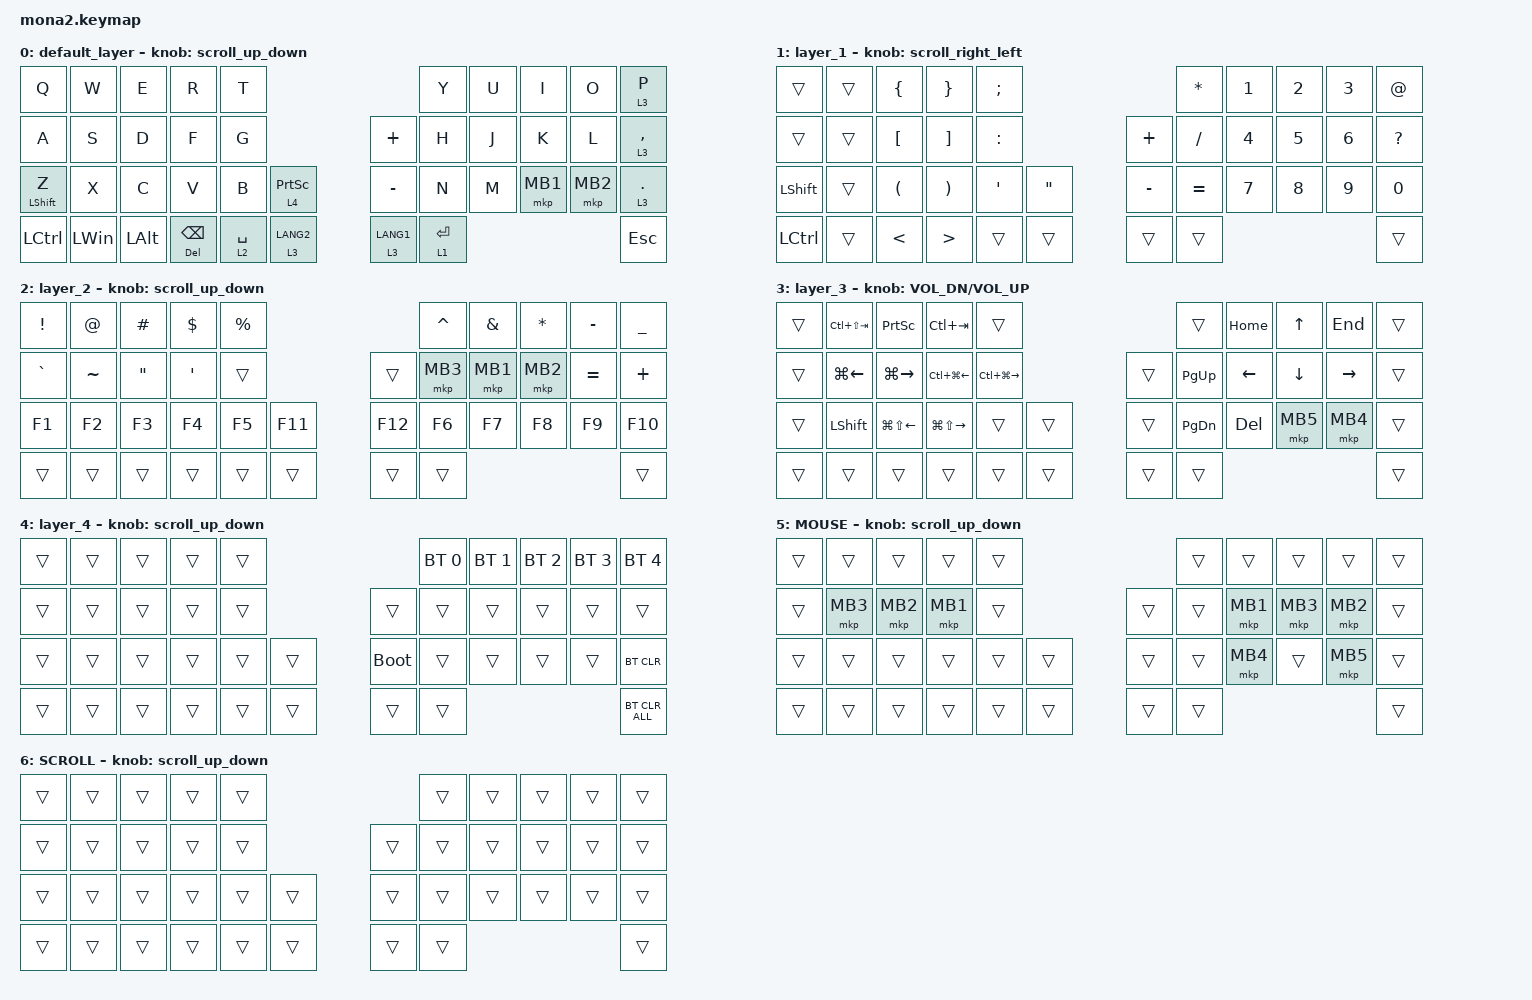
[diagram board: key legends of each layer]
#include <input/processors.dtsi>
#include <dt-bindings/zmk/input_transform.h>
#include <zephyr/dt-bindings/input/input-event-codes.h>
#include <behaviors.dtsi>
#include <dt-bindings/zmk/bt.h>
#include <dt-bindings/zmk/keys.h>
#include <dt-bindings/zmk/pointing.h>

#define ZMK_POINTING_DEFAULT_SCRL_VAL 100
#define MOUSE 5
#define SCROLL 6

&mt {
    flavor = "balanced";
    quick-tap-ms = <0>;
};

&lt {
    quick-tap-ms = <300>;
    flavor = "balanced";
};

/ {
    combos {
        compatible = "zmk,combos";

        layer4_ESC {
            bindings = <&lt 4 ESC>;
            key-positions = <39 38>;
        };

        tab {
            bindings = <&kp TAB>;
            key-positions = <11 12>;
        };
    };

    macros {
        to_layer_0: to_layer_0 {
            compatible = "zmk,behavior-macro-one-param";
            #binding-cells = <1>;
            bindings = <&to 0 &macro_param_1to1 &kp MACRO_PLACEHOLDER>;
            label = "TO_LAYER_0";
        };
    };

    behaviors {
        lt_to_layer_0: lt_to_layer_0 {
            compatible = "zmk,behavior-hold-tap";
            label = "LAYER_TAP_TO_0";
            bindings = <&mo>, <&to_layer_0>;

            #binding-cells = <2>;
            tapping-term-ms = <200>;
        };

        scroll_up_down: mouse_wheel_up_down {
            compatible = "zmk,behavior-sensor-rotate";
            #sensor-binding-cells = <0>;
            bindings = <&msc SCRL_DOWN>, <&msc SCRL_UP>;

            tap-ms = <20>;
        };

        scroll_right_left: mouse_wheel_right_left {
            compatible = "zmk,behavior-sensor-rotate";
            #sensor-binding-cells = <0>;
            bindings = <&msc SCRL_LEFT>, <&msc SCRL_RIGHT>;

            tap-ms = <20>;
        };
    };

    keymap {
        compatible = "zmk,keymap";

        default_layer {
            bindings = <
&kp Q             &kp W         &kp E         &kp R              &kp T                                                          &kp Y        &kp U  &kp I     &kp O     &lt 3 P
&kp A             &kp S         &kp D         &kp F              &kp G                                  &kp PLUS                &kp H        &kp J  &kp K     &kp L     &lt 3 COMMA
&mt LEFT_SHIFT Z  &kp X         &kp C         &kp V              &kp B        &lt 4 PRINTSCREEN         &kp MINUS               &kp N        &kp M  &mkp MB1  &mkp MB2  &lt 3 DOT
&kp LCTRL         &kp LEFT_WIN  &kp LEFT_ALT  &mt DEL BACKSPACE  &lt 2 SPACE  &lt_to_layer_0 3 LANG2    &lt_to_layer_0 3 LANG1  &lt 1 ENTER                             &kp ESCAPE
            >;

            sensor-bindings = <&scroll_up_down>;
        };

        layer_1 {
            bindings = <
&trans            &trans  &kp LEFT_BRACE    &kp RIGHT_BRACE        &kp SEMICOLON                                  &kp ASTERISK  &kp NUMBER_1  &kp NUMBER_2  &kp NUMBER_3  &kp AT_SIGN
&trans            &trans  &kp LEFT_BRACKET  &kp RIGHT_BRACKET      &kp COLON                           &kp PLUS   &kp SLASH     &kp NUMBER_4  &kp NUMBER_5  &kp NUMBER_6  &kp QUESTION
&kp LEFT_SHIFT    &trans  &kp LPAR          &kp RIGHT_PARENTHESIS  &kp SQT        &kp DOUBLE_QUOTES    &kp MINUS  &kp EQUAL     &kp NUMBER_7  &kp NUMBER_8  &kp NUMBER_9  &kp NUMBER_0
&kp LEFT_CONTROL  &trans  &kp LESS_THAN     &kp GREATER_THAN       &trans         &trans               &trans     &trans                                                  &trans
            >;

            sensor-bindings = <&scroll_right_left>;
        };

        layer_2 {
            bindings = <
&kp EXCLAMATION  &kp AT_SIGN  &kp POUND          &kp DOLLAR  &kp PERCENT                      &kp CARET  &kp AMPERSAND  &kp ASTERISK  &kp MINUS  &kp UNDERSCORE
&kp GRAVE        &kp TILDE    &kp DOUBLE_QUOTES  &kp SQT     &trans                  &trans   &mkp MB3   &mkp MB1       &mkp MB2      &kp EQUAL  &kp PLUS
&kp F1           &kp F2       &kp F3             &kp F4      &kp F5       &kp F11    &kp F12  &kp F6     &kp F7         &kp F8        &kp F9     &kp F10
&trans           &trans       &trans             &trans      &trans       &trans     &trans   &trans                                             &trans
            >;

            sensor-bindings = <&scroll_up_down>;
        };

        layer_3 {
            bindings = <
&trans  &kp LC(LS(TAB))     &kp PRINTSCREEN         &kp LC(TAB)              &trans                                     &trans         &kp HOME        &kp UP_ARROW    &kp END          &trans
&trans  &kp LG(LEFT_ARROW)  &kp LG(RIGHT_ARROW)     &kp LC(LG(LEFT_ARROW))   &kp LC(LG(RIGHT_ARROW))            &trans  &kp PAGE_UP    &kp LEFT_ARROW  &kp DOWN_ARROW  &kp RIGHT_ARROW  &trans
&trans  &kp LEFT_SHIFT      &kp LG(LS(LEFT_ARROW))  &kp LG(LS(RIGHT_ARROW))  &trans                   &trans    &trans  &kp PAGE_DOWN  &kp DELETE      &mkp MB5        &mkp MB4         &trans
&trans  &trans              &trans                  &trans                   &trans                   &trans    &trans  &trans                                                          &trans
            >;

            sensor-bindings = <&inc_dec_kp C_VOL_DN C_VOL_UP>;
        };

        layer_4 {
            bindings = <
&trans  &trans  &trans  &trans  &trans                         &bt BT_SEL 0  &bt BT_SEL 1  &bt BT_SEL 2  &bt BT_SEL 3  &bt BT_SEL 4
&trans  &trans  &trans  &trans  &trans            &trans       &trans        &trans        &trans        &trans        &trans
&trans  &trans  &trans  &trans  &trans  &trans    &bootloader  &trans        &trans        &trans        &trans        &bt BT_CLR
&trans  &trans  &trans  &trans  &trans  &trans    &trans       &trans                                                  &bt BT_CLR_ALL
            >;

            sensor-bindings = <&scroll_up_down>;
        };

        MOUSE {
            bindings = <
&trans  &trans    &trans    &trans    &trans                    &trans  &trans    &trans    &trans    &trans
&trans  &mkp MB3  &mkp MB2  &mkp MB1  &trans            &trans  &trans  &mkp MB1  &mkp MB3  &mkp MB2  &trans
&trans  &trans    &trans    &trans    &trans  &trans    &trans  &trans  &mkp MB4  &trans    &mkp MB5  &trans
&trans  &trans    &trans    &trans    &trans  &trans    &trans  &trans                                &trans
            >;

            sensor-bindings = <&scroll_up_down>;
        };

        SCROLL {
            bindings = <
&trans  &trans  &trans  &trans  &trans                    &trans  &trans  &trans  &trans  &trans
&trans  &trans  &trans  &trans  &trans            &trans  &trans  &trans  &trans  &trans  &trans
&trans  &trans  &trans  &trans  &trans  &trans    &trans  &trans  &trans  &trans  &trans  &trans
&trans  &trans  &trans  &trans  &trans  &trans    &trans  &trans                          &trans
            >;

            sensor-bindings = <&scroll_up_down>;
        };
    };
};
